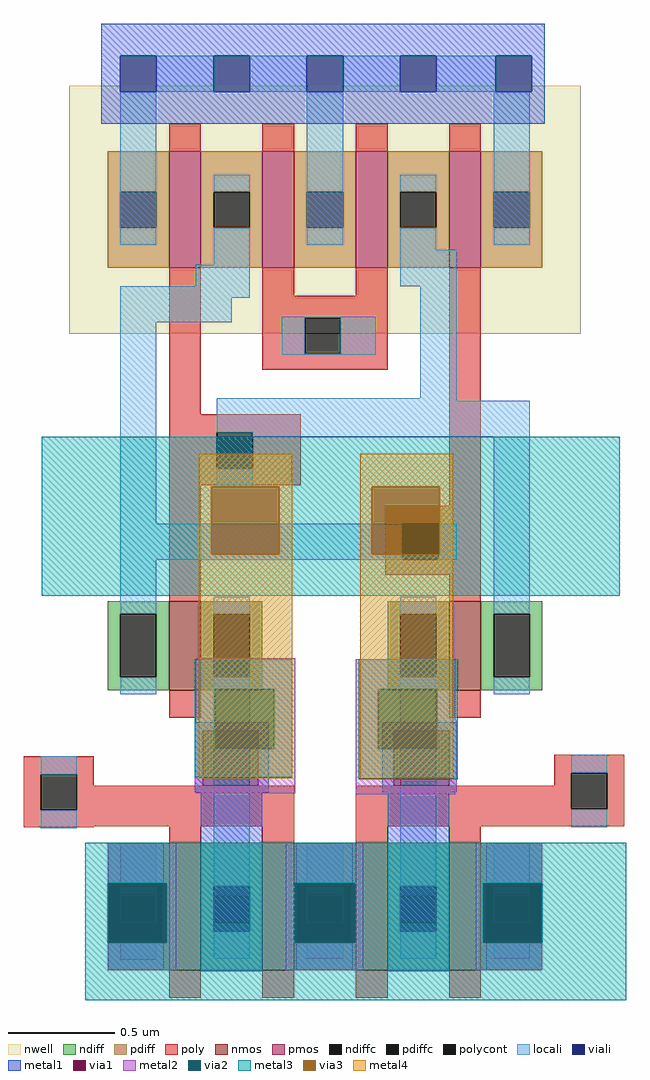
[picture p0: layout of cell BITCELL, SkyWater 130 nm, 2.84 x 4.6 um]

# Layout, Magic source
magic
tech sky130A
magscale 1 2
<< nmos >>
rect 652 -139 682 -19
rect 740 -139 770 -19
rect 828 -139 858 -19
rect 916 -139 946 -19
<< ndiff >>
rect 594 -60 652 -19
rect 594 -94 606 -60
rect 640 -94 652 -60
rect 594 -139 652 -94
rect 682 -60 740 -19
rect 682 -94 694 -60
rect 728 -94 740 -60
rect 682 -139 740 -94
rect 770 -60 828 -19
rect 770 -94 782 -60
rect 816 -94 828 -60
rect 770 -139 828 -94
rect 858 -60 916 -19
rect 858 -94 870 -60
rect 904 -94 916 -60
rect 858 -139 916 -94
rect 946 -60 1004 -19
rect 946 -94 958 -60
rect 992 -94 1004 -60
rect 946 -139 1004 -94
<< ndiffc >>
rect 606 -94 640 -60
rect 694 -94 728 -60
rect 782 -94 816 -60
rect 870 -94 904 -60
rect 958 -94 992 -60
<< poly >>
rect 515 46 581 63
rect 515 12 531 46
rect 565 35 581 46
rect 1015 47 1081 64
rect 1015 35 1031 47
rect 565 12 770 35
rect 515 -3 770 12
rect 515 -4 581 -3
rect 652 -19 682 -3
rect 740 -19 770 -3
rect 828 13 1031 35
rect 1065 13 1081 47
rect 828 -3 1081 13
rect 828 -19 858 -3
rect 916 -19 946 -3
rect 652 -165 682 -139
rect 740 -165 770 -139
rect 828 -165 858 -139
rect 916 -165 946 -139
<< polycont >>
rect 531 12 565 46
rect 1031 13 1065 47
<< locali >>
rect 694 113 728 123
rect 708 97 728 113
rect 871 97 904 125
rect 531 46 565 63
rect 531 -5 565 12
rect 606 -60 640 -19
rect 606 -129 640 -102
rect 694 -60 728 97
rect 694 -128 728 -102
rect 782 -60 816 -19
rect 782 -128 816 -102
rect 870 -60 904 97
rect 1031 47 1065 64
rect 1031 -4 1065 13
rect 870 -128 904 -102
rect 958 -60 992 -19
rect 958 -128 992 -102
<< viali >>
rect 606 -94 640 -68
rect 606 -102 640 -94
rect 694 -94 728 -68
rect 694 -102 728 -94
rect 782 -94 816 -68
rect 782 -102 816 -94
rect 870 -94 904 -68
rect 870 -102 904 -94
rect 958 -94 992 -68
rect 958 -102 992 -94
<< metal1 >>
rect 676 87 746 95
rect 676 35 684 87
rect 736 35 746 87
rect 676 29 746 35
rect 853 87 923 95
rect 853 35 864 87
rect 916 35 923 87
rect 853 29 923 35
rect 594 -59 647 -19
rect 646 -111 647 -59
rect 594 -139 647 -111
rect 682 -68 740 29
rect 682 -102 694 -68
rect 728 -102 740 -68
rect 682 -140 740 -102
rect 772 -59 825 -19
rect 824 -111 825 -59
rect 772 -139 825 -111
rect 858 -68 916 29
rect 858 -102 870 -68
rect 904 -102 916 -68
rect 858 -140 916 -102
rect 951 -59 1004 -19
rect 1003 -111 1004 -59
rect 951 -139 1004 -111
<< via1 >>
rect 684 35 736 87
rect 864 35 916 87
rect 594 -68 646 -59
rect 594 -102 606 -68
rect 606 -102 640 -68
rect 640 -102 646 -68
rect 594 -111 646 -102
rect 772 -68 824 -59
rect 772 -102 782 -68
rect 782 -102 816 -68
rect 816 -102 824 -68
rect 772 -111 824 -102
rect 951 -68 1003 -59
rect 951 -102 958 -68
rect 958 -102 992 -68
rect 992 -102 1003 -68
rect 951 -111 1003 -102
<< metal2 >>
rect 677 126 771 155
rect 677 95 695 126
rect 676 87 695 95
rect 676 35 684 87
rect 751 70 771 126
rect 736 35 771 70
rect 676 29 771 35
rect 677 28 771 29
rect 828 126 922 154
rect 828 70 849 126
rect 905 96 922 126
rect 905 87 923 96
rect 828 35 864 70
rect 916 35 923 87
rect 828 29 923 35
rect 828 27 922 29
rect 594 -57 659 -19
rect 650 -113 659 -57
rect 594 -139 659 -113
rect 762 -57 835 -19
rect 762 -113 771 -57
rect 827 -113 835 -57
rect 762 -139 835 -113
rect 941 -57 1004 -19
rect 941 -113 948 -57
rect 941 -139 1004 -113
<< via2 >>
rect 695 87 751 126
rect 695 70 736 87
rect 736 70 751 87
rect 849 87 905 126
rect 849 70 864 87
rect 864 70 905 87
rect 594 -59 650 -57
rect 594 -111 646 -59
rect 646 -111 650 -59
rect 594 -113 650 -111
rect 771 -59 827 -57
rect 771 -111 772 -59
rect 772 -111 824 -59
rect 824 -111 827 -59
rect 771 -113 827 -111
rect 948 -59 1004 -57
rect 948 -111 951 -59
rect 951 -111 1003 -59
rect 1003 -111 1004 -59
rect 948 -113 1004 -111
<< metal3 >>
rect 532 317 1077 364
rect 532 253 692 317
rect 756 253 843 317
rect 907 253 1077 317
rect 532 214 1077 253
rect 676 126 768 154
rect 676 70 695 126
rect 751 70 768 126
rect 676 43 768 70
rect 831 126 924 154
rect 831 70 849 126
rect 905 70 924 126
rect 831 41 924 70
rect 573 -57 1083 -19
rect 573 -113 594 -57
rect 650 -113 771 -57
rect 827 -113 948 -57
rect 1004 -113 1083 -57
rect 573 -167 1083 -113
<< via3 >>
rect 692 253 756 317
rect 843 253 907 317
<< metal4 >>
rect 680 317 768 348
rect 680 253 692 317
rect 756 253 768 317
rect 680 42 768 253
rect 832 317 920 348
rect 832 253 843 317
rect 907 253 920 317
rect 832 42 920 253
use SENSEAMP  SENSEAMP_0
transform 1 0 558 0 1 459
box 0 -370 482 294
<< end >>

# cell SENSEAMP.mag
magic
tech sky130A
magscale 1 2
<< poly >>
rect 94 -74 124 62
rect 182 17 300 38
rect 182 -17 222 17
rect 256 -17 300 17
rect 182 -32 300 -17
rect 94 -91 218 -74
rect 94 -125 139 -91
rect 173 -125 218 -91
rect 94 -141 218 -125
rect 94 -224 124 -141
rect 358 -160 388 46
rect 298 -177 388 -160
rect 298 -211 314 -177
rect 348 -211 388 -177
rect 298 -224 388 -211
rect 298 -225 358 -224
<< polycont >>
rect 222 -17 256 17
rect 139 -125 173 -91
rect 314 -211 348 -177
<< locali >>
rect 82 230 136 264
rect 170 230 224 264
rect 258 230 312 264
rect 346 230 402 264
rect 48 86 82 230
rect 224 86 258 230
rect 400 86 434 230
rect 136 67 170 86
rect 119 47 170 67
rect 312 81 346 86
rect 312 47 365 81
rect 48 36 170 47
rect 48 13 153 36
rect 200 17 289 18
rect 48 -177 82 13
rect 200 -17 222 17
rect 256 -17 289 17
rect 200 -18 289 -17
rect 331 -59 365 47
rect 139 -61 365 -59
rect 139 -91 434 -61
rect 173 -95 434 -91
rect 139 -141 173 -125
rect 48 -211 314 -177
rect 348 -211 365 -177
rect 48 -253 82 -211
rect 400 -248 434 -95
rect 81 -254 82 -253
rect 136 -370 170 -338
rect 312 -368 346 -338
<< viali >>
rect 48 230 82 264
rect 136 230 170 264
rect 224 230 258 264
rect 312 230 346 264
rect 402 230 436 264
<< metal1 >>
rect 30 264 448 294
rect 30 230 48 264
rect 82 230 136 264
rect 170 230 224 264
rect 258 230 312 264
rect 346 230 402 264
rect 436 230 448 264
rect 30 200 448 230
use sky130_fd_pr__pfet_01v8_Z9CWMR  P4
transform 1 0 373 0 1 119
box -109 -117 109 117
use sky130_fd_pr__pfet_01v8_HMCWMR  P3
transform 1 0 285 0 1 119
box -109 -117 109 117
use sky130_fd_pr__pfet_01v8_HMCWMR  P1
transform 1 0 197 0 1 119
box -109 -117 109 117
use sky130_fd_pr__pfet_01v8_HMCWMR  P0
transform 1 0 109 0 1 119
box -109 -117 109 117
use sky130_fd_pr__nfet_01v8_PKCY66  sky130_fd_pr__nfet_01v8_PKCY66_1
transform 1 0 373 0 1 -292
box -73 -68 73 68
use sky130_fd_pr__nfet_01v8_PKCY66  sky130_fd_pr__nfet_01v8_PKCY66_0
transform 1 0 109 0 1 -292
box -73 -68 73 68
<< labels >>
flabel locali 200 -18 288 18 1 FreeSans 160 0 0 0 SENSE_N
flabel space 400 -338 434 -60 1 FreeSans 160 0 0 0 QN
flabel space 48 -338 82 0 1 FreeSans 160 0 0 0 Q
flabel space 136 -370 170 -246 1 FreeSans 160 0 0 0 I1
flabel space 312 -368 346 -246 1 FreeSans 160 0 0 0 I0
flabel metal1 30 200 448 294 1 FreeSans 160 0 0 0 VDD
<< end >>

# cell sky130_fd_pr__pfet_01v8_Z9CWMR: kit device sky130_fd_pr__pfet_01v8, w .55 l 0.15 m 1 nf 1 diffcov 20 polycov 20 guard 0 glc 0 grc 0 gtc 0 gbc 0 tbcov 0 rlcov 0 topc 0 botc 0 poverlap 0 doverlap 0 lmin 0.15 wmin 0.42 compatible {sky130_fd_pr__pfet_01v8 sky130_fd_pr__pfet_01v8_lvt sky130_fd_pr__pfet_01v8_hvt sky130_fd_pr__pfet_g5v0d10v5} full_metal 0 viagl 0 viagr 0 viagt 0 viagb 0 viagate 0 viadrn 0 viasrc 0

# cell sky130_fd_pr__pfet_01v8_HMCWMR: kit device sky130_fd_pr__pfet_01v8, w 0.55 l 0.15 m 1 nf 1 diffcov 20 polycov 20 guard 0 glc 0 grc 0 gtc 0 gbc 0 tbcov 0 rlcov 0 topc 0 botc 0 poverlap 0 doverlap 0 lmin 0.15 wmin 0.42 compatible {sky130_fd_pr__pfet_01v8 sky130_fd_pr__pfet_01v8_lvt sky130_fd_pr__pfet_01v8_hvt sky130_fd_pr__pfet_g5v0d10v5} full_metal 0 viagl 0 viagr 0 viagt 0 viagb 0 viagate 0 viadrn 0 viasrc 0

# cell sky130_fd_pr__nfet_01v8_PKCY66: kit device sky130_fd_pr__nfet_01v8, w 0.420 l 0.150 m 1 nf 1 diffcov 100 polycov 100 guard 0 glc 0 grc 0 gtc 0 gbc 0 tbcov 100 rlcov 100 topc 0 botc 0 poverlap 0 doverlap 0 lmin 0.15 wmin 0.42 compatible {sky130_fd_pr__nfet_01v8 sky130_fd_pr__nfet_01v8_lvt sky130_fd_bs_flash__special_sonosfet_star sky130_fd_pr__nfet_g5v0d10v5 sky130_fd_pr__nfet_05v0_nvt} full_metal 0 viasrc 0 viadrn 0 viagate 0 viagb 0 viagr 0 viagl 0 viagt 0
